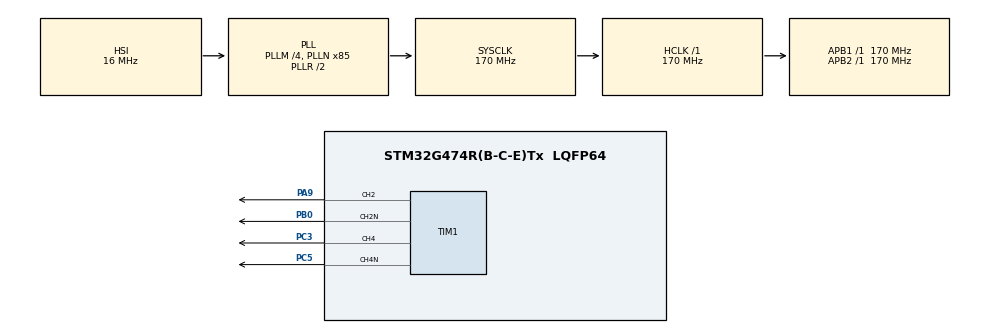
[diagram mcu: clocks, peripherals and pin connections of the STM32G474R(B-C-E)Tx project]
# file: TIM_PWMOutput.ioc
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Mcu.Family=STM32G4
Mcu.Name=STM32G474R(B-C-E)Tx
Mcu.Package=LQFP64
NVIC.PriorityGroup=NVIC_PRIORITYGROUP_4
PA9.GPIO_PuPd=GPIO_PULLUP
PA9.GPIO_Speed=GPIO_SPEED_FREQ_VERY_HIGH
PA9.Signal=S_TIM1_CH2
PB0.GPIO_PuPd=GPIO_PULLUP
PB0.GPIO_Speed=GPIO_SPEED_FREQ_VERY_HIGH
PB0.Mode=PWM Generation2 CH2 CH2N
PB0.Signal=TIM1_CH2N
PC3.GPIO_PuPd=GPIO_PULLUP
PC3.GPIO_Speed=GPIO_SPEED_FREQ_VERY_HIGH
PC3.Signal=S_TIM1_CH4
PC5.GPIO_PuPd=GPIO_PULLUP
PC5.GPIO_Speed=GPIO_SPEED_FREQ_VERY_HIGH
PC5.Mode=PWM Generation4 CH4 CH4N
PC5.Signal=TIM1_CH4N
ProjectManager.HeapSize=0x200
ProjectManager.StackSize=0x400
ProjectManager.TargetToolchain=STM32CubeIDE
RCC.ADC12Freq_Value=170000000
RCC.ADC345Freq_Value=170000000
RCC.AHBFreq_Value=170000000
RCC.APB1Freq_Value=170000000
RCC.APB1TimFreq_Value=170000000
RCC.APB2Freq_Value=170000000
RCC.APB2TimFreq_Value=170000000
RCC.CortexFreq_Value=170000000
RCC.EXTERNAL_CLOCK_VALUE=12288000
RCC.HCLKFreq_Value=170000000
RCC.HSE_VALUE=24000000
RCC.HSI48_VALUE=48000000
RCC.HSI_VALUE=16000000
RCC.LSE_VALUE=32768
RCC.PLLM=RCC_PLLM_DIV4
RCC.PLLN=85
RCC.SYSCLKFreq_VALUE=170000000
RCC.SYSCLKSource=RCC_SYSCLKSOURCE_PLLCLK
RCC.USBFreq_Value=170000000
RCC.VCOOutputFreq_Value=340000000
SH.S_TIM1_CH2.0=TIM1_CH2,PWM Generation2 CH2 CH2N
SH.S_TIM1_CH4.0=TIM1_CH4,PWM Generation4 CH4 CH4N
TIM1.AutoReloadPreload=TIM_AUTORELOAD_PRELOAD_DISABLE
TIM1.AutomaticOutput=TIM_AUTOMATICOUTPUT_DISABLE
TIM1.Break2Filter=0
TIM1.Break2Polarity=TIM_BREAK2POLARITY_HIGH
TIM1.Break2State=TIM_BREAK2_DISABLE
TIM1.BreakFilter=0
TIM1.BreakPolarity=TIM_BREAKPOLARITY_HIGH
TIM1.BreakState=TIM_BREAK_DISABLE
TIM1.Channel-PWM\ Generation1\ No\ Output=TIM_CHANNEL_1
TIM1.Channel-PWM\ Generation2\ CH2\ CH2N=TIM_CHANNEL_2
TIM1.Channel-PWM\ Generation3\ No\ Output=TIM_CHANNEL_3
TIM1.Channel-PWM\ Generation4\ CH4\ CH4N=TIM_CHANNEL_4
TIM1.ClearInputSource=TIM_CLEARINPUTSOURCE_NONE
TIM1.ClockDivision=TIM_CLOCKDIVISION_DIV1
TIM1.CounterMode=TIM_COUNTERMODE_CENTERALIGNED3
TIM1.DeadTime=DEFAULT_DEADTIME
TIM1.LockLevel=TIM_LOCKLEVEL_OFF
TIM1.OCIdleState_2=TIM_OCIDLESTATE_RESET
TIM1.OCMode_PWM-PWM\ Generation1\ No\ Output=TIM_OCMODE_PWM2
TIM1.OCMode_PWM-PWM\ Generation2\ CH2\ CH2N=TIM_OCMODE_ASSYMETRIC_PWM2
TIM1.OCMode_PWM-PWM\ Generation3\ No\ Output=TIM_OCMODE_PWM2
TIM1.OCMode_PWM-PWM\ Generation4\ CH4\ CH4N=TIM_OCMODE_ASSYMETRIC_PWM2
TIM1.OCPolarity_2=TIM_OCPOLARITY_HIGH
TIM1.OffStateIDLEMode=TIM_OSSI_DISABLE
TIM1.OffStateRunMode=TIM_OSSR_DISABLE
TIM1.PeriodNoDither=TIMER_CLOCK / pwmFreq / 2 - 1
TIM1.Prescaler=PRESCALER_VALUE
TIM1.PulseNoDither_1=TIMER_CLOCK / pwmFreq * pwmDutyCycle / 2 / 100
TIM1.PulseNoDither_2=TIMER_CLOCK / pwmFreq * pwmDutyCycle / 2 / 100
TIM1.PulseNoDither_3=TIMER_CLOCK / pwmFreq * pwmDutyCycle / 2 / 100
TIM1.PulseNoDither_4=TIMER_CLOCK / pwmFreq * pwmDutyCycle / 2 / 100
TIM1.RepetitionCounter=0
TIM1.SourceBRK2COMP1=TIM_BREAKINPUTSOURCE_DISABLE
TIM1.SourceBRK2COMP2=TIM_BREAKINPUTSOURCE_DISABLE
TIM1.SourceBRK2DigInput=TIM_BREAKINPUTSOURCE_DISABLE
TIM1.SourceBRKCOMP1=TIM_BREAKINPUTSOURCE_DISABLE
TIM1.SourceBRKCOMP2=TIM_BREAKINPUTSOURCE_DISABLE
TIM1.SourceBRKDigInput=TIM_BREAKINPUTSOURCE_DISABLE
TIM1.TIM_MasterOutputTrigger=TIM_TRGO_OC1REF
TIM1.TIM_MasterOutputTrigger2=TIM_TRGO2_RESET
TIM1.TIM_MasterSlaveMode=TIM_MASTERSLAVEMODE_DISABLE
VP_SYS_VS_DBSignals.Mode=DisableDeadBatterySignals
VP_TIM1_VS_no_output1.Mode=PWM Generation1 No Output
VP_TIM1_VS_no_output3.Mode=PWM Generation3 No Output
board=NUCLEO-G474RE

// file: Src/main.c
/* USER CODE BEGIN Header */
/**
  ******************************************************************************
  * @file    TIM/TIM_PWMOutput/Src/main.c
  * @author  MCD Application Team
  * @brief   This sample code shows how to use STM32G4xx TIM HAL API to generate
  *          4 signals in PWM.
  ******************************************************************************
  * @attention
  *
  * Copyright (c) 2019-2021 STMicroelectronics.
  * All rights reserved.
  *
  * This software is licensed under terms that can be found in the LICENSE file
  * in the root directory of this software component.
  * If no LICENSE file comes with this software, it is provided AS-IS.
  *
  ******************************************************************************
  */
/* USER CODE END Header */
#include "main.h"

/* USER CODE BEGIN PD */
#define DEFAULT_FREQ 100000
#define DEFAULT_DUTY_CYCLE 50
#define DEFAULT_DEADTIME 38
#define DEFAULT_PHASE_SHIFT 0 //degree
#define TIMER_CLOCK 170000000
/* USER CODE END PD */

TIM_HandleTypeDef htim1;

/* USER CODE BEGIN PV */
static uint32_t pwmFreq = DEFAULT_FREQ;
static uint32_t pwmDutyCycle = DEFAULT_DUTY_CYCLE;
static int32_t phaseShift = DEFAULT_PHASE_SHIFT;
/* USER CODE END PV */

void SystemClock_Config(void);
static void MX_GPIO_Init(void);
static void MX_TIM1_Init(void);

int main(void)
{
  /* USER CODE BEGIN 1 */

  /* STM32G4xx HAL library initialization:
       - Configure the Flash prefetch
       - Systick timer is configured by default as source of time base, but user
         can eventually implement his proper time base source (a general purpose
         timer for example or other time source), keeping in mind that Time base
         duration should be kept 1ms since PPP_TIMEOUT_VALUEs are defined and
         handled in milliseconds basis.
       - Set NVIC Group Priority to 4
       - Low Level Initialization
     */
  /* USER CODE END 1 */

  /* MCU Configuration--------------------------------------------------------*/

  /* Reset of all peripherals, Initializes the Flash interface and the Systick. */
  HAL_Init();

  /* Configure the system clock */
  SystemClock_Config();

  /* USER CODE BEGIN SysInit */

  /* Configure LED2 */
  BSP_LED_Init(LED2);

  /* USER CODE END SysInit */

  /* Initialize all configured peripherals */
  MX_GPIO_Init();
  MX_TIM1_Init();
  /* USER CODE BEGIN 2 */

/*## Start PWM signals generation #######################################*/
  /* Start channel 1 */
  if (HAL_TIM_PWM_Start(&htim1, TIM_CHANNEL_1) != HAL_OK)
  {
    /* PWM Generation Error */
    Error_Handler();
  }
  /* Start channel 2 */
  if (HAL_TIM_PWM_Start(&htim1, TIM_CHANNEL_2) != HAL_OK)
  {
    /* PWM Generation Error */
    Error_Handler();
  }
  if (HAL_TIMEx_PWMN_Start(&htim1, TIM_CHANNEL_2) != HAL_OK)
  {
    /* PWM Generation Error */
    Error_Handler();
  }
  /* Start channel 3 */
  if (HAL_TIM_PWM_Start(&htim1, TIM_CHANNEL_3) != HAL_OK)
  {
    /* PWM Generation Error */
    Error_Handler();
  }
  /* Start channel 4 */
  if (HAL_TIM_PWM_Start(&htim1, TIM_CHANNEL_4) != HAL_OK)
  {
    /* PWM Generation Error */
    Error_Handler();
  }
  if (HAL_TIMEx_PWMN_Start(&htim1, TIM_CHANNEL_4) != HAL_OK)
  {
    /* PWM Generation Error */
    Error_Handler();
  }

  /* USER CODE END 2 */

  /* Infinite loop */
  while (1)
  {

    /* USER CODE BEGIN 3 */
	__HAL_TIM_SET_AUTORELOAD(&htim1, TIMER_CLOCK / pwmFreq / 2 - 1);

	if (phaseShift > 0 && phaseShift <= 180)
	{
		if (phaseShift <= 90)
		{
			__HAL_TIM_SET_COMPARE(&htim1, TIM_CHANNEL_3, TIMER_CLOCK / pwmFreq * (90 - phaseShift) / 2 / 180);
			__HAL_TIM_SET_COMPARE(&htim1, TIM_CHANNEL_4, TIMER_CLOCK / pwmFreq * (90 + phaseShift) / 2 / 180);
		}
		else
		{
			__HAL_TIM_SET_COMPARE(&htim1, TIM_CHANNEL_1, TIMER_CLOCK / pwmFreq / 2);
			__HAL_TIM_SET_COMPARE(&htim1, TIM_CHANNEL_2, 0);
			__HAL_TIM_SET_COMPARE(&htim1, TIM_CHANNEL_3, TIMER_CLOCK / pwmFreq * (180 - phaseShift) / 2 / 180);
			__HAL_TIM_SET_COMPARE(&htim1, TIM_CHANNEL_4, TIMER_CLOCK / pwmFreq * phaseShift / 2 / 180);
		}
	}
	else if (phaseShift < 0 && phaseShift >= -180)
	{
		uint32_t temp = 0 - phaseShift;
		if (phaseShift >= -90)
		{
			__HAL_TIM_SET_COMPARE(&htim1, TIM_CHANNEL_3, TIMER_CLOCK / pwmFreq * (90 + temp) / 2 / 180);
			__HAL_TIM_SET_COMPARE(&htim1, TIM_CHANNEL_4, TIMER_CLOCK / pwmFreq * (90 - temp) / 2 / 180);
		}
		else
		{
			__HAL_TIM_SET_COMPARE(&htim1, TIM_CHANNEL_1, 0);
			__HAL_TIM_SET_COMPARE(&htim1, TIM_CHANNEL_2, TIMER_CLOCK / pwmFreq / 2);
			__HAL_TIM_SET_COMPARE(&htim1, TIM_CHANNEL_3, TIMER_CLOCK / pwmFreq * temp / 2 / 180);
			__HAL_TIM_SET_COMPARE(&htim1, TIM_CHANNEL_4, TIMER_CLOCK / pwmFreq * (180 - temp) / 2 / 180);
		}
	}
	else
	{
		__HAL_TIM_SET_COMPARE(&htim1, TIM_CHANNEL_1, TIMER_CLOCK / pwmFreq * 50 / 2 / 100);
		__HAL_TIM_SET_COMPARE(&htim1, TIM_CHANNEL_2, TIMER_CLOCK / pwmFreq * 50 / 2 / 100);
		__HAL_TIM_SET_COMPARE(&htim1, TIM_CHANNEL_3, TIMER_CLOCK / pwmFreq * 50 / 2 / 100);
		__HAL_TIM_SET_COMPARE(&htim1, TIM_CHANNEL_4, TIMER_CLOCK / pwmFreq * 50 / 2 / 100);
	}

  }
  /* USER CODE END 3 */
}

void SystemClock_Config(void)
{
  RCC_OscInitTypeDef RCC_OscInitStruct = {0};
  RCC_ClkInitTypeDef RCC_ClkInitStruct = {0};

  /** Configure the main internal regulator output voltage
  */
  HAL_PWREx_ControlVoltageScaling(PWR_REGULATOR_VOLTAGE_SCALE1_BOOST);

  /** Initializes the RCC Oscillators according to the specified parameters
  * in the RCC_OscInitTypeDef structure.
  */
  RCC_OscInitStruct.OscillatorType = RCC_OSCILLATORTYPE_HSI;
  RCC_OscInitStruct.HSIState = RCC_HSI_ON;
  RCC_OscInitStruct.HSICalibrationValue = RCC_HSICALIBRATION_DEFAULT;
  RCC_OscInitStruct.PLL.PLLState = RCC_PLL_ON;
  RCC_OscInitStruct.PLL.PLLSource = RCC_PLLSOURCE_HSI;
  RCC_OscInitStruct.PLL.PLLM = RCC_PLLM_DIV4;
  RCC_OscInitStruct.PLL.PLLN = 85;
  RCC_OscInitStruct.PLL.PLLP = RCC_PLLP_DIV2;
  RCC_OscInitStruct.PLL.PLLQ = RCC_PLLQ_DIV2;
  RCC_OscInitStruct.PLL.PLLR = RCC_PLLR_DIV2;
  if (HAL_RCC_OscConfig(&RCC_OscInitStruct) != HAL_OK)
  {
    Error_Handler();
  }

  /** Initializes the CPU, AHB and APB buses clocks
  */
  RCC_ClkInitStruct.ClockType = RCC_CLOCKTYPE_HCLK|RCC_CLOCKTYPE_SYSCLK
                              |RCC_CLOCKTYPE_PCLK1|RCC_CLOCKTYPE_PCLK2;
  RCC_ClkInitStruct.SYSCLKSource = RCC_SYSCLKSOURCE_PLLCLK;
  RCC_ClkInitStruct.AHBCLKDivider = RCC_SYSCLK_DIV1;
  RCC_ClkInitStruct.APB1CLKDivider = RCC_HCLK_DIV1;
  RCC_ClkInitStruct.APB2CLKDivider = RCC_HCLK_DIV1;

  if (HAL_RCC_ClockConfig(&RCC_ClkInitStruct, FLASH_LATENCY_4) != HAL_OK)
  {
    Error_Handler();
  }
}

static void MX_TIM1_Init(void)
{

  TIM_MasterConfigTypeDef sMasterConfig = {0};
  TIM_OC_InitTypeDef sConfigOC = {0};
  TIM_BreakDeadTimeConfigTypeDef sBreakDeadTimeConfig = {0};

  htim1.Instance = TIM1;
  htim1.Init.Prescaler = PRESCALER_VALUE;
  htim1.Init.CounterMode = TIM_COUNTERMODE_CENTERALIGNED3;
  htim1.Init.Period = TIMER_CLOCK / pwmFreq / 2 - 1;
  htim1.Init.ClockDivision = TIM_CLOCKDIVISION_DIV1;
  htim1.Init.RepetitionCounter = 0;
  htim1.Init.AutoReloadPreload = TIM_AUTORELOAD_PRELOAD_DISABLE;
  if (HAL_TIM_PWM_Init(&htim1) != HAL_OK)
  {
    Error_Handler();
  }
  sMasterConfig.MasterOutputTrigger = TIM_TRGO_OC1REF;
  sMasterConfig.MasterOutputTrigger2 = TIM_TRGO2_RESET;
  sMasterConfig.MasterSlaveMode = TIM_MASTERSLAVEMODE_DISABLE;
  if (HAL_TIMEx_MasterConfigSynchronization(&htim1, &sMasterConfig) != HAL_OK)
  {
    Error_Handler();
  }
  sConfigOC.OCMode = TIM_OCMODE_PWM2;
  sConfigOC.Pulse = TIMER_CLOCK / pwmFreq * pwmDutyCycle / 2 / 100;
  sConfigOC.OCPolarity = TIM_OCPOLARITY_HIGH;
  sConfigOC.OCNPolarity = TIM_OCNPOLARITY_HIGH;
  sConfigOC.OCFastMode = TIM_OCFAST_DISABLE;
  sConfigOC.OCIdleState = TIM_OCIDLESTATE_RESET;
  sConfigOC.OCNIdleState = TIM_OCNIDLESTATE_RESET;
  if (HAL_TIM_PWM_ConfigChannel(&htim1, &sConfigOC, TIM_CHANNEL_1) != HAL_OK)
  {
    Error_Handler();
  }
  sConfigOC.OCMode = TIM_OCMODE_ASSYMETRIC_PWM2;
  if (HAL_TIM_PWM_ConfigChannel(&htim1, &sConfigOC, TIM_CHANNEL_2) != HAL_OK)
  {
    Error_Handler();
  }
  sConfigOC.OCMode = TIM_OCMODE_PWM2;
  if (HAL_TIM_PWM_ConfigChannel(&htim1, &sConfigOC, TIM_CHANNEL_3) != HAL_OK)
  {
    Error_Handler();
  }
  sConfigOC.OCMode = TIM_OCMODE_ASSYMETRIC_PWM2;
  if (HAL_TIM_PWM_ConfigChannel(&htim1, &sConfigOC, TIM_CHANNEL_4) != HAL_OK)
  {
    Error_Handler();
  }
  sBreakDeadTimeConfig.OffStateRunMode = TIM_OSSR_DISABLE;
  sBreakDeadTimeConfig.OffStateIDLEMode = TIM_OSSI_DISABLE;
  sBreakDeadTimeConfig.LockLevel = TIM_LOCKLEVEL_OFF;
  sBreakDeadTimeConfig.DeadTime = DEFAULT_DEADTIME;
  sBreakDeadTimeConfig.BreakState = TIM_BREAK_DISABLE;
  sBreakDeadTimeConfig.BreakPolarity = TIM_BREAKPOLARITY_HIGH;
  sBreakDeadTimeConfig.BreakFilter = 0;
  sBreakDeadTimeConfig.BreakAFMode = TIM_BREAK_AFMODE_INPUT;
  sBreakDeadTimeConfig.Break2State = TIM_BREAK2_DISABLE;
  sBreakDeadTimeConfig.Break2Polarity = TIM_BREAK2POLARITY_HIGH;
  sBreakDeadTimeConfig.Break2Filter = 0;
  sBreakDeadTimeConfig.Break2AFMode = TIM_BREAK_AFMODE_INPUT;
  sBreakDeadTimeConfig.AutomaticOutput = TIM_AUTOMATICOUTPUT_DISABLE;
  if (HAL_TIMEx_ConfigBreakDeadTime(&htim1, &sBreakDeadTimeConfig) != HAL_OK)
  {
    Error_Handler();
  }
  HAL_TIM_MspPostInit(&htim1);

}

static void MX_GPIO_Init(void)
{

  /* GPIO Ports Clock Enable */
  __HAL_RCC_GPIOC_CLK_ENABLE();
  __HAL_RCC_GPIOB_CLK_ENABLE();
  __HAL_RCC_GPIOA_CLK_ENABLE();

}

void Error_Handler(void)
{
  /* USER CODE BEGIN Error_Handler_Debug */
  /* Turn LED2 on */
  BSP_LED_On(LED2);
  while(1)
  {
  }
  /* USER CODE END Error_Handler_Debug */
}
